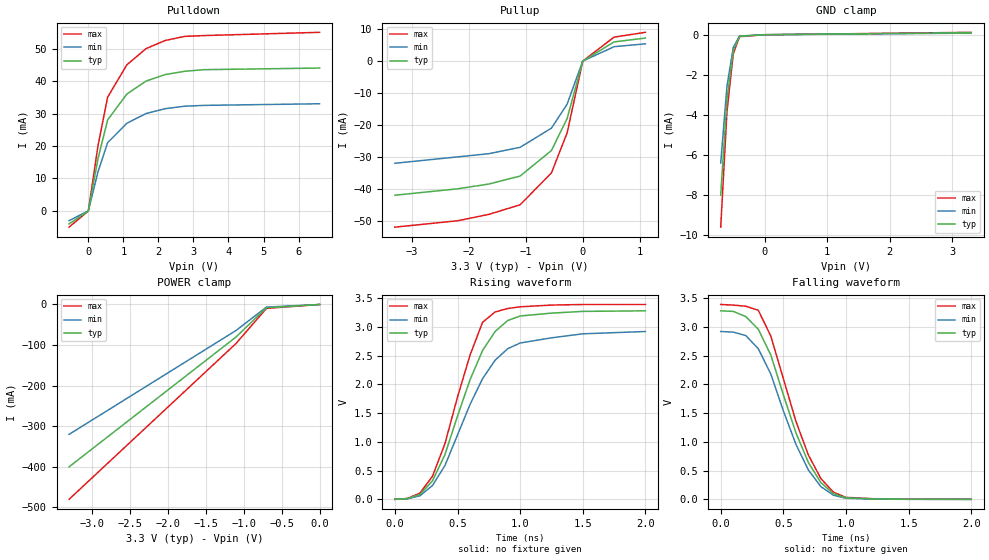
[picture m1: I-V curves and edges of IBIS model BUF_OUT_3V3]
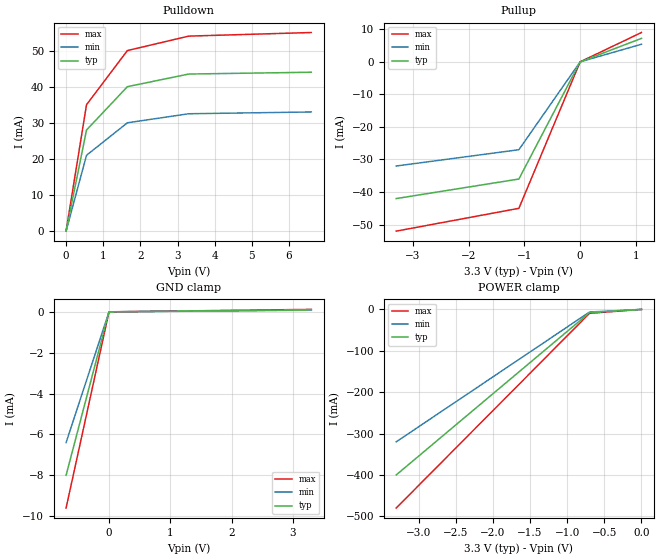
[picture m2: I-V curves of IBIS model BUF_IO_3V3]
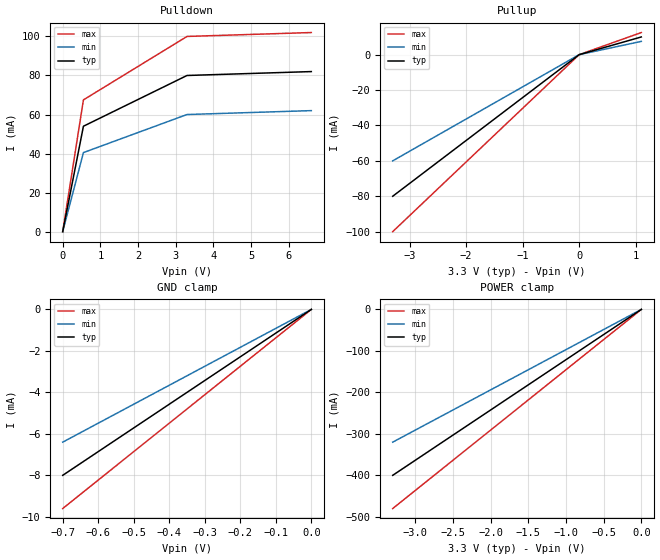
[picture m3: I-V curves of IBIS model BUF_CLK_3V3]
| IBIS file: sample_buffer.ibs
| Description: Generic 3.3V LVCMOS output buffer — Rising Edge sample
[IBIS Ver]   5.0
[File Name]   sample_buffer.ibs
[File Rev]   1.0
[Date]   2024-01-15
[Source]   Rising Edge IBIS-Studio — sample file
[Notes]   This is a representative 3.3V LVCMOS I/O buffer model for
|   demonstration and learning purposes.
[Disclaimer]   Model is for educational use only.
[Copyright]   Copyright 2024 Rising Edge. All rights reserved.
[Component]   SAMPLE_LVCMOS_3V3
[Manufacturer]  Rising Edge (Sample)
[Package]
| variable   typ   min   max
R_pkg   100m   80m   120m
L_pkg   2.50n   2.00n   3.00n
C_pkg   0.500p   0.400p   0.600p
[Pin]  signal_name   model_name   R_pin   L_pin   C_pin
1   IO_0   BUF_OUT_3V3   NA   NA   NA
2   IO_1   BUF_OUT_3V3   NA   NA   NA
3   IO_2   BUF_OUT_3V3   NA   NA   NA
4   IO_3   BUF_OUT_3V3   NA   NA   NA
5   IO_4   BUF_IO_3V3   NA   NA   NA
6   IO_5   BUF_IO_3V3   NA   NA   NA
7   CLK_OUT   BUF_CLK_3V3   NA   NA   NA
8   VDD   POWER   NA   NA   NA
9   GND   GND   NA   NA   NA
| Models and submodels in the file (3): BUF_OUT_3V3 (Output), BUF_IO_3V3 (I/O), BUF_CLK_3V3 (Output)
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| ──────────────────────────────────────────────────────────────────────
| Model: BUF_OUT_3V3 — 3.3V LVCMOS Output
| ──────────────────────────────────────────────────────────────────────
[Model]   BUF_OUT_3V3
Model_type   Output
Polarity   Non-Inverting
Enable   Active-High
Vmeas   1.65
Cref   0
Rref   50
Vref   0
[Voltage Range]   3.300   3.000   3.600
[Temperature Range] 25   0   85
[Pullup Reference] 3.300   3.000   3.600
[Pulldown Reference] 0.000   0.000   0.000
[Power Clamp Reference] 3.300 3.000   3.600
[GND Clamp Reference] 0.000   0.000   0.000
[C_comp]   2.00p   1.50p   2.50p
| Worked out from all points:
|   slope of the pulldown table from 0 to 0.495 V, typ, clamps not added: 19.3 ohm
|   GND clamp passes 1 mA (typ) near -0.51 V on its own axis
|   rising waveform, no fixture given: 20-80 % time 337ps typ, 375ps min, 287ps max; typ from 0 V to 3.28 V
|   falling waveform, no fixture given: 20-80 % time 322ps typ, 319ps min, 305ps max; typ from 3.28 V to 0 V
[Pullup]
| voltage   I(typ)   I(min)   I(max)
-3.3V     -42mA      -32mA      -52mA
-2.75V    -41mA      -31mA      -51mA
-2.2V     -40mA      -30mA      -50mA
-1.65V    -38.5mA    -29mA      -48mA
-1.1V     -36mA      -27mA      -45mA
-550mV    -28mA      -21mA      -35mA
-275mV    -18mA      -13.5mA    -22.5mA
0V        0A         0A         0A
550mV     6mA        4.5mA      7.5mA
1.1V      7.2mA      5.4mA      9mA
[Pulldown]
| voltage   I(typ)   I(min)   I(max)
-550mV    -4mA       -3mA       -5mA
0V        0A         0A         0A
275mV     16mA       12mA       20mA
550mV     28mA       21mA       35mA
1.1V      36mA       27mA       45mA
1.65V     40mA       30mA       50mA
2.2V      42mA       31.5mA     52.5mA
2.75V     43mA       32.25mA    53.75mA
3.3V      43.5mA     32.5mA     54mA
6.6V      44mA       33mA       55mA
[Power Clamp]
| voltage   I(typ)   I(min)   I(max)
-3.3V     -400mA     -320mA     -480mA
-2.75V    -320mA     -256mA     -384mA
-2.2V     -240mA     -192mA     -288mA
-1.65V    -160mA     -128mA     -192mA
-1.1V     -80mA      -64mA      -96mA
-700mV    -8mA       -6.4mA     -9.6mA
0V        0A         0A         0A
[GND Clamp]
| voltage   I(typ)   I(min)   I(max)
-700mV    -8mA       -6.4mA     -9.6mA
-600mV    -3.2mA     -2.56mA    -3.84mA
-500mV    -800uA     -640uA     -960uA
-400mV    -80uA      -64uA      -96uA
0V        0A         0A         0A
3.3V      100uA      80uA       120uA
[Ramp]
| variable   typ   min   max
dV/dt_r   2.97/1n   2.40/1n   3.54/1n
dV/dt_f   2.97/1n   2.40/1n   3.54/1n
R_load   50
[Rising Waveform]
R_fixture   50
V_fixture   3.300
| time   V(typ)   V(min)   V(max)
0s        0V         0V         0V
200ps     85mV       62mV       108mV
300ps     320mV      240mV      400mV
400ps     780mV      590mV      970mV
600ps     2.08V      1.65V      2.51V
700ps     2.59V      2.1V       3.08V
800ps     2.92V      2.42V      3.26V
1ns       3.19V      2.72V      3.35V
1.5ns     3.27V      2.88V      3.39V
2ns       3.28V      2.92V      3.39V
[Falling Waveform]
R_fixture   50
V_fixture   0.000
| time   V(typ)   V(min)   V(max)
0s        3.28V      2.92V      3.39V
200ps     3.18V      2.85V      3.36V
300ps     2.96V      2.62V      3.29V
400ps     2.51V      2.18V      2.84V
600ps     1.16V      960mV      1.36V
700ps     640mV      510mV      770mV
800ps     290mV      220mV      360mV
900ps     98mV       72mV       124mV
1ns       26mV       18mV       34mV
2ns       0V         0V         0V
| ──────────────────────────────────────────────────────────────────────
| Model: BUF_IO_3V3 — 3.3V LVCMOS Bidirectional
| ──────────────────────────────────────────────────────────────────────
[Model]   BUF_IO_3V3
Model_type   I/O
Polarity   Non-Inverting
Enable   Active-High
Vinl   0.800
Vinh   2.000
Vmeas   1.650
Cref   0
Rref   50
Vref   0
[Voltage Range]   3.300   3.000   3.600
[Temperature Range] 25   0   85
[C_comp]   2.50p   1.80p   3.20p
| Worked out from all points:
|   slope of the pulldown table from 0 to 0.495 V, typ, clamps not added: 19.6 ohm
[Pullup]
| voltage   I(typ)   I(min)   I(max)
-3.3V     -42mA      -32mA      -52mA
-1.1V     -36mA      -27mA      -45mA
0V        0A         0A         0A
1.1V      7.2mA      5.4mA      9mA
[Pulldown]
| voltage   I(typ)   I(min)   I(max)
0V        0A         0A         0A
550mV     28mA       21mA       35mA
1.65V     40mA       30mA       50mA
3.3V      43.5mA     32.5mA     54mA
6.6V      44mA       33mA       55mA
[Power Clamp]
| voltage   I(typ)   I(min)   I(max)
-3.3V     -400mA     -320mA     -480mA
-700mV    -8mA       -6.4mA     -9.6mA
0V        0A         0A         0A
[GND Clamp]
| voltage   I(typ)   I(min)   I(max)
-700mV    -8mA       -6.4mA     -9.6mA
0V        0A         0A         0A
3.3V      100uA      80uA       120uA
[Ramp]
| variable   typ   min   max
dV/dt_r   2.97/1n   2.40/1n   3.54/1n
dV/dt_f   2.97/1n   2.40/1n   3.54/1n
R_load   50
| ──────────────────────────────────────────────────────────────────────
| Model: BUF_CLK_3V3 — 3.3V LVCMOS High-Drive Clock Output
| ──────────────────────────────────────────────────────────────────────
[Model]   BUF_CLK_3V3
Model_type   Output
Polarity   Non-Inverting
Vmeas   1.650
[Voltage Range]   3.300   3.000   3.600
[Temperature Range] 25   0   85
[C_comp]   3.00p   2.20p   3.80p
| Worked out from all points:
|   slope of the pulldown table from 0 to 0.495 V, typ, clamps not added: 10.2 ohm
[Pullup]
| voltage   I(typ)   I(min)   I(max)
-3.3V     -80mA      -60mA      -100mA
0V        0A         0A         0A
1.1V      10mA       7.5mA      12.5mA
[Pulldown]
| voltage   I(typ)   I(min)   I(max)
0V        0A         0A         0A
550mV     54mA       40.5mA     67.5mA
3.3V      80mA       60mA       100mA
6.6V      82mA       62mA       102mA
[Power Clamp]
| voltage   I(typ)   I(min)   I(max)
-3.3V     -400mA     -320mA     -480mA
0V        0A         0A         0A
[GND Clamp]
| voltage   I(typ)   I(min)   I(max)
-700mV    -8mA       -6.4mA     -9.6mA
0V        0A         0A         0A
[Ramp]
| variable   typ   min   max
dV/dt_r   4.50/1n   3.60/1n   5.40/1n
dV/dt_f   4.50/1n   3.60/1n   5.40/1n
R_load   50
